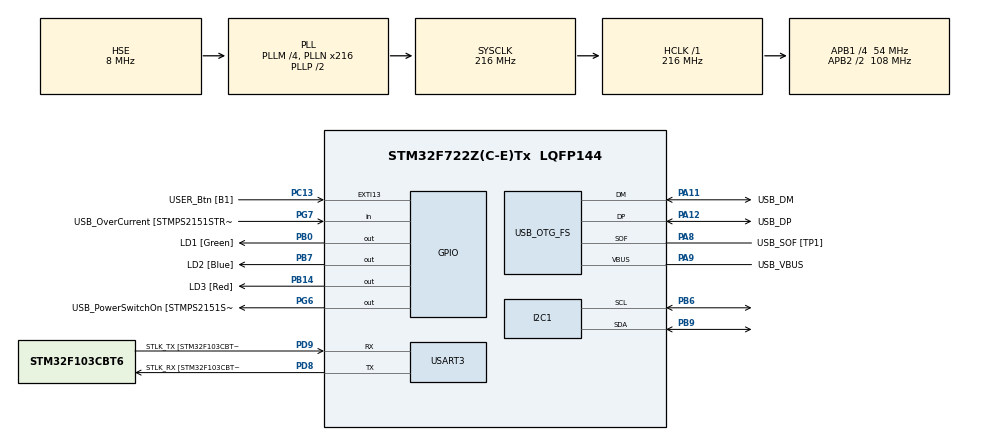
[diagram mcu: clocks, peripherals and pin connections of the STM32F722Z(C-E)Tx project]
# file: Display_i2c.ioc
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I2C1.Timing=0x20404768
Mcu.Family=STM32F7
Mcu.Name=STM32F722Z(C-E)Tx
Mcu.Package=LQFP144
NVIC.PriorityGroup=NVIC_PRIORITYGROUP_4
PA10.GPIO_Label=USB_ID
PA10.Signal=USB_OTG_FS_ID
PA11.GPIO_Label=USB_DM
PA11.Mode=Device_Only
PA11.Signal=USB_OTG_FS_DM
PA12.GPIO_Label=USB_DP
PA12.Mode=Device_Only
PA12.Signal=USB_OTG_FS_DP
PA13.GPIO_Label=TMS
PA13.Mode=Serial_Wire
PA13.Signal=SYS_JTMS-SWDIO
PA14.GPIO_Label=TCK
PA14.Mode=Serial_Wire
PA14.Signal=SYS_JTCK-SWCLK
PA8.GPIO_Label=USB_SOF [TP1]
PA8.Mode=Activate_SOF_FS
PA8.Signal=USB_OTG_FS_SOF
PA9.GPIO_Label=USB_VBUS
PA9.Mode=Activate_VBUS
PA9.Signal=USB_OTG_FS_VBUS
PB0.GPIO_Label=LD1 [Green]
PB0.Signal=GPIO_Output
PB14.GPIO_Label=LD3 [Red]
PB14.Signal=GPIO_Output
PB3.GPIO_Label=SWO
PB3.Signal=SYS_JTDO-SWO
PB6.Mode=I2C
PB6.Signal=I2C1_SCL
PB7.GPIO_Label=LD2 [Blue]
PB7.Signal=GPIO_Output
PB9.Mode=I2C
PB9.Signal=I2C1_SDA
PC13.GPIO_Label=USER_Btn [B1]
PC13.Signal=GPXTI13
PC14-OSC32_IN.Mode=LSE-External-Oscillator
PC14-OSC32_IN.Signal=RCC_OSC32_IN
PC15-OSC32_OUT.Mode=LSE-External-Oscillator
PC15-OSC32_OUT.Signal=RCC_OSC32_OUT
PD8.GPIO_Label=STLK_RX [STM32F103CBT6_PA3]
PD8.Mode=Asynchronous
PD8.Signal=USART3_TX
PD9.GPIO_Label=STLK_TX [STM32F103CBT6_PA2]
PD9.Mode=Asynchronous
PD9.Signal=USART3_RX
PG6.GPIO_Label=USB_PowerSwitchOn [STMPS2151STR_EN]
PG6.Signal=GPIO_Output
PG7.GPIO_Label=USB_OverCurrent [STMPS2151STR_FAULT]
PG7.Signal=GPIO_Input
PH0-OSC_IN.GPIO_Label=MCO
PH0-OSC_IN.Mode=HSE-External-Clock-Source
PH0-OSC_IN.Signal=RCC_OSC_IN
PH1-OSC_OUT.Mode=HSE-External-Clock-Source
PH1-OSC_OUT.Signal=RCC_OSC_OUT
ProjectManager.HeapSize=0x200
ProjectManager.StackSize=0x400
ProjectManager.TargetToolchain=STM32CubeIDE
RCC.48MHZClocksFreq_Value=24000000
RCC.AHBFreq_Value=216000000
RCC.APB1CLKDivider=RCC_HCLK_DIV4
RCC.APB1Freq_Value=54000000
RCC.APB1TimFreq_Value=108000000
RCC.APB2CLKDivider=RCC_HCLK_DIV2
RCC.APB2Freq_Value=108000000
RCC.APB2TimFreq_Value=216000000
RCC.CortexFreq_Value=216000000
RCC.HCLKFreq_Value=216000000
RCC.HSE_VALUE=8000000
RCC.HSI_VALUE=16000000
RCC.PLLM=4
RCC.PLLMUL=RCC_PLL_MUL9
RCC.PLLN=216
RCC.PLLQ=9
RCC.PRESCALERUSB=RCC_USBCLKSOURCE_PLL_DIV1_5
RCC.SYSCLKFreq_VALUE=216000000
RCC.SYSCLKSource=RCC_SYSCLKSOURCE_PLLCLK
RCC.SYSCLKSourceVirtual=RCC_SYSCLKSOURCE_PLLCLK
RCC.USBFreq_Value=48000000
RCC.VCOOutputFreq_Value=432000000
USART3.VirtualMode-Asynchronous=VM_ASYNC
USB_OTG_FS.VirtualMode=Device_Only
board=NUCLEO-F722ZE

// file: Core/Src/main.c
/* USER CODE BEGIN Header */
/**
  ******************************************************************************
  * @file           : main.c
  * @brief          : Main program body
  ******************************************************************************
  * @attention
  *
  * Copyright (c) 2025 STMicroelectronics.
  * All rights reserved.
  *
  * This software is licensed under terms that can be found in the LICENSE file
  * in the root directory of this software component.
  * If no LICENSE file comes with this software, it is provided AS-IS.
  *
  ******************************************************************************
  */
/* USER CODE END Header */
#include "main.h"

/* USER CODE BEGIN Includes */
#include "lcd_i2c.h"
#include "mimico_i2c.h"

/* USER CODE END Includes */

UART_HandleTypeDef huart3;

PCD_HandleTypeDef hpcd_USB_OTG_FS;

/* USER CODE BEGIN PV */

I2C_HandleTypeDef hi2c1;
Lcd_I2C_HandleTypeDef lcd;

/* USER CODE END PV */

void SystemClock_Config(void);
static void MX_GPIO_Init(void);
static void MX_USART3_UART_Init(void);
static void MX_USB_OTG_FS_PCD_Init(void);
static void MX_I2C1_Init(void);

int main(void)
{

  /* MCU Configuration--------------------------------------------------------*/

  /* Reset of all peripherals, Initializes the Flash interface and the Systick. */
  HAL_Init();

  /* Configure the system clock */
  SystemClock_Config();

  /* Initialize all configured peripherals */
  MX_GPIO_Init();
  MX_USART3_UART_Init();
  MX_USB_OTG_FS_PCD_Init();
  MX_I2C1_Init();
  /* USER CODE BEGIN 2 */
  HAL_Delay(100); // tiempo para inicialización del PCF8574
  // Inicializar LCD con dirección del PCF8574
  lcd.hi2c = &hi2c1;
  lcd.pcf_addr = 0x27 << 1;  // PCF8574 con A0,A1,A2 = HIGH
  lcd.backlight = 1;         // Encender backlight

  Lcd_I2C_Init(&lcd);        // Inicializa LCD

  // Limpiar pantalla y colocar cursor al inicio
  Lcd_I2C_Clear(&lcd);
  Lcd_I2C_SetCursor(&lcd, 0, 0);

  // Escribir texto en primera línea
  Lcd_I2C_Print(&lcd, "Prueba");

  // Escribir un número en la segunda línea
  Lcd_I2C_SetCursor(&lcd, 1, 0);
  //Lcd_I2C_PrintInt(&lcd, 123456);
  /* USER CODE END 2 */

  /* Infinite loop */
  /* USER CODE BEGIN WHILE */
  while (1)
  {
	  mimico();
	  HAL_GPIO_TogglePin(GPIOB, LD1_Pin);
	  Lcd_I2C_SetCursor(&lcd, 1, 0);
	  static uint8_t i = 0;
	  Lcd_I2C_PrintInt(&lcd, i);
	  i ++;
	  if (i > 9) i = 0;
    /* USER CODE END WHILE */

  }
}

void SystemClock_Config(void)
{
  RCC_OscInitTypeDef RCC_OscInitStruct = {0};
  RCC_ClkInitTypeDef RCC_ClkInitStruct = {0};

  /** Configure LSE Drive Capability
  */
  HAL_PWR_EnableBkUpAccess();

  /** Configure the main internal regulator output voltage
  */
  __HAL_RCC_PWR_CLK_ENABLE();
  __HAL_PWR_VOLTAGESCALING_CONFIG(PWR_REGULATOR_VOLTAGE_SCALE1);

  /** Initializes the RCC Oscillators according to the specified parameters
  * in the RCC_OscInitTypeDef structure.
  */
  RCC_OscInitStruct.OscillatorType = RCC_OSCILLATORTYPE_HSE;
  RCC_OscInitStruct.HSEState = RCC_HSE_BYPASS;
  RCC_OscInitStruct.PLL.PLLState = RCC_PLL_ON;
  RCC_OscInitStruct.PLL.PLLSource = RCC_PLLSOURCE_HSE;
  RCC_OscInitStruct.PLL.PLLM = 4;
  RCC_OscInitStruct.PLL.PLLN = 216;
  RCC_OscInitStruct.PLL.PLLP = RCC_PLLP_DIV2;
  RCC_OscInitStruct.PLL.PLLQ = 9;
  if (HAL_RCC_OscConfig(&RCC_OscInitStruct) != HAL_OK)
  {
    Error_Handler();
  }

  /** Activate the Over-Drive mode
  */
  if (HAL_PWREx_EnableOverDrive() != HAL_OK)
  {
    Error_Handler();
  }

  /** Initializes the CPU, AHB and APB buses clocks
  */
  RCC_ClkInitStruct.ClockType = RCC_CLOCKTYPE_HCLK|RCC_CLOCKTYPE_SYSCLK
                              |RCC_CLOCKTYPE_PCLK1|RCC_CLOCKTYPE_PCLK2;
  RCC_ClkInitStruct.SYSCLKSource = RCC_SYSCLKSOURCE_PLLCLK;
  RCC_ClkInitStruct.AHBCLKDivider = RCC_SYSCLK_DIV1;
  RCC_ClkInitStruct.APB1CLKDivider = RCC_HCLK_DIV4;
  RCC_ClkInitStruct.APB2CLKDivider = RCC_HCLK_DIV2;

  if (HAL_RCC_ClockConfig(&RCC_ClkInitStruct, FLASH_LATENCY_7) != HAL_OK)
  {
    Error_Handler();
  }
}

static void MX_I2C1_Init(void)
{

  hi2c1.Instance = I2C1;
  hi2c1.Init.Timing = 0x20404768;
  hi2c1.Init.OwnAddress1 = 0;
  hi2c1.Init.AddressingMode = I2C_ADDRESSINGMODE_7BIT;
  hi2c1.Init.DualAddressMode = I2C_DUALADDRESS_DISABLE;
  hi2c1.Init.OwnAddress2 = 0;
  hi2c1.Init.OwnAddress2Masks = I2C_OA2_NOMASK;
  hi2c1.Init.GeneralCallMode = I2C_GENERALCALL_DISABLE;
  hi2c1.Init.NoStretchMode = I2C_NOSTRETCH_DISABLE;
  if (HAL_I2C_Init(&hi2c1) != HAL_OK)
  {
    Error_Handler();
  }

  /** Configure Analogue filter
  */
  if (HAL_I2CEx_ConfigAnalogFilter(&hi2c1, I2C_ANALOGFILTER_ENABLE) != HAL_OK)
  {
    Error_Handler();
  }

  /** Configure Digital filter
  */
  if (HAL_I2CEx_ConfigDigitalFilter(&hi2c1, 0) != HAL_OK)
  {
    Error_Handler();
  }

}

static void MX_USART3_UART_Init(void)
{

  huart3.Instance = USART3;
  huart3.Init.BaudRate = 115200;
  huart3.Init.WordLength = UART_WORDLENGTH_8B;
  huart3.Init.StopBits = UART_STOPBITS_1;
  huart3.Init.Parity = UART_PARITY_NONE;
  huart3.Init.Mode = UART_MODE_TX_RX;
  huart3.Init.HwFlowCtl = UART_HWCONTROL_NONE;
  huart3.Init.OverSampling = UART_OVERSAMPLING_16;
  huart3.Init.OneBitSampling = UART_ONE_BIT_SAMPLE_DISABLE;
  huart3.AdvancedInit.AdvFeatureInit = UART_ADVFEATURE_NO_INIT;
  if (HAL_UART_Init(&huart3) != HAL_OK)
  {
    Error_Handler();
  }

}

static void MX_USB_OTG_FS_PCD_Init(void)
{

  hpcd_USB_OTG_FS.Instance = USB_OTG_FS;
  hpcd_USB_OTG_FS.Init.dev_endpoints = 6;
  hpcd_USB_OTG_FS.Init.speed = PCD_SPEED_FULL;
  hpcd_USB_OTG_FS.Init.dma_enable = DISABLE;
  hpcd_USB_OTG_FS.Init.phy_itface = PCD_PHY_EMBEDDED;
  hpcd_USB_OTG_FS.Init.Sof_enable = ENABLE;
  hpcd_USB_OTG_FS.Init.low_power_enable = DISABLE;
  hpcd_USB_OTG_FS.Init.lpm_enable = DISABLE;
  hpcd_USB_OTG_FS.Init.battery_charging_enable = ENABLE;
  hpcd_USB_OTG_FS.Init.vbus_sensing_enable = ENABLE;
  hpcd_USB_OTG_FS.Init.use_dedicated_ep1 = DISABLE;
  if (HAL_PCD_Init(&hpcd_USB_OTG_FS) != HAL_OK)
  {
    Error_Handler();
  }

}

static void MX_GPIO_Init(void)
{
  GPIO_InitTypeDef GPIO_InitStruct = {0};

  /* GPIO Ports Clock Enable */
  __HAL_RCC_GPIOC_CLK_ENABLE();
  __HAL_RCC_GPIOH_CLK_ENABLE();
  __HAL_RCC_GPIOB_CLK_ENABLE();
  __HAL_RCC_GPIOD_CLK_ENABLE();
  __HAL_RCC_GPIOG_CLK_ENABLE();
  __HAL_RCC_GPIOA_CLK_ENABLE();

  /*Configure GPIO pin Output Level */
  HAL_GPIO_WritePin(GPIOB, LD1_Pin|LD3_Pin|LD2_Pin, GPIO_PIN_RESET);

  /*Configure GPIO pin Output Level */
  HAL_GPIO_WritePin(USB_PowerSwitchOn_GPIO_Port, USB_PowerSwitchOn_Pin, GPIO_PIN_RESET);

  /*Configure GPIO pin : USER_Btn_Pin */
  GPIO_InitStruct.Pin = USER_Btn_Pin;
  GPIO_InitStruct.Mode = GPIO_MODE_IT_RISING;
  GPIO_InitStruct.Pull = GPIO_NOPULL;
  HAL_GPIO_Init(USER_Btn_GPIO_Port, &GPIO_InitStruct);

  /*Configure GPIO pins : LD1_Pin LD3_Pin LD2_Pin */
  GPIO_InitStruct.Pin = LD1_Pin|LD3_Pin|LD2_Pin;
  GPIO_InitStruct.Mode = GPIO_MODE_OUTPUT_PP;
  GPIO_InitStruct.Pull = GPIO_NOPULL;
  GPIO_InitStruct.Speed = GPIO_SPEED_FREQ_LOW;
  HAL_GPIO_Init(GPIOB, &GPIO_InitStruct);

  /*Configure GPIO pin : USB_PowerSwitchOn_Pin */
  GPIO_InitStruct.Pin = USB_PowerSwitchOn_Pin;
  GPIO_InitStruct.Mode = GPIO_MODE_OUTPUT_PP;
  GPIO_InitStruct.Pull = GPIO_NOPULL;
  GPIO_InitStruct.Speed = GPIO_SPEED_FREQ_LOW;
  HAL_GPIO_Init(USB_PowerSwitchOn_GPIO_Port, &GPIO_InitStruct);

  /*Configure GPIO pin : USB_OverCurrent_Pin */
  GPIO_InitStruct.Pin = USB_OverCurrent_Pin;
  GPIO_InitStruct.Mode = GPIO_MODE_INPUT;
  GPIO_InitStruct.Pull = GPIO_NOPULL;
  HAL_GPIO_Init(USB_OverCurrent_GPIO_Port, &GPIO_InitStruct);

}

void Error_Handler(void)
{
  __disable_irq();
  while (1)
  {
  }
}
